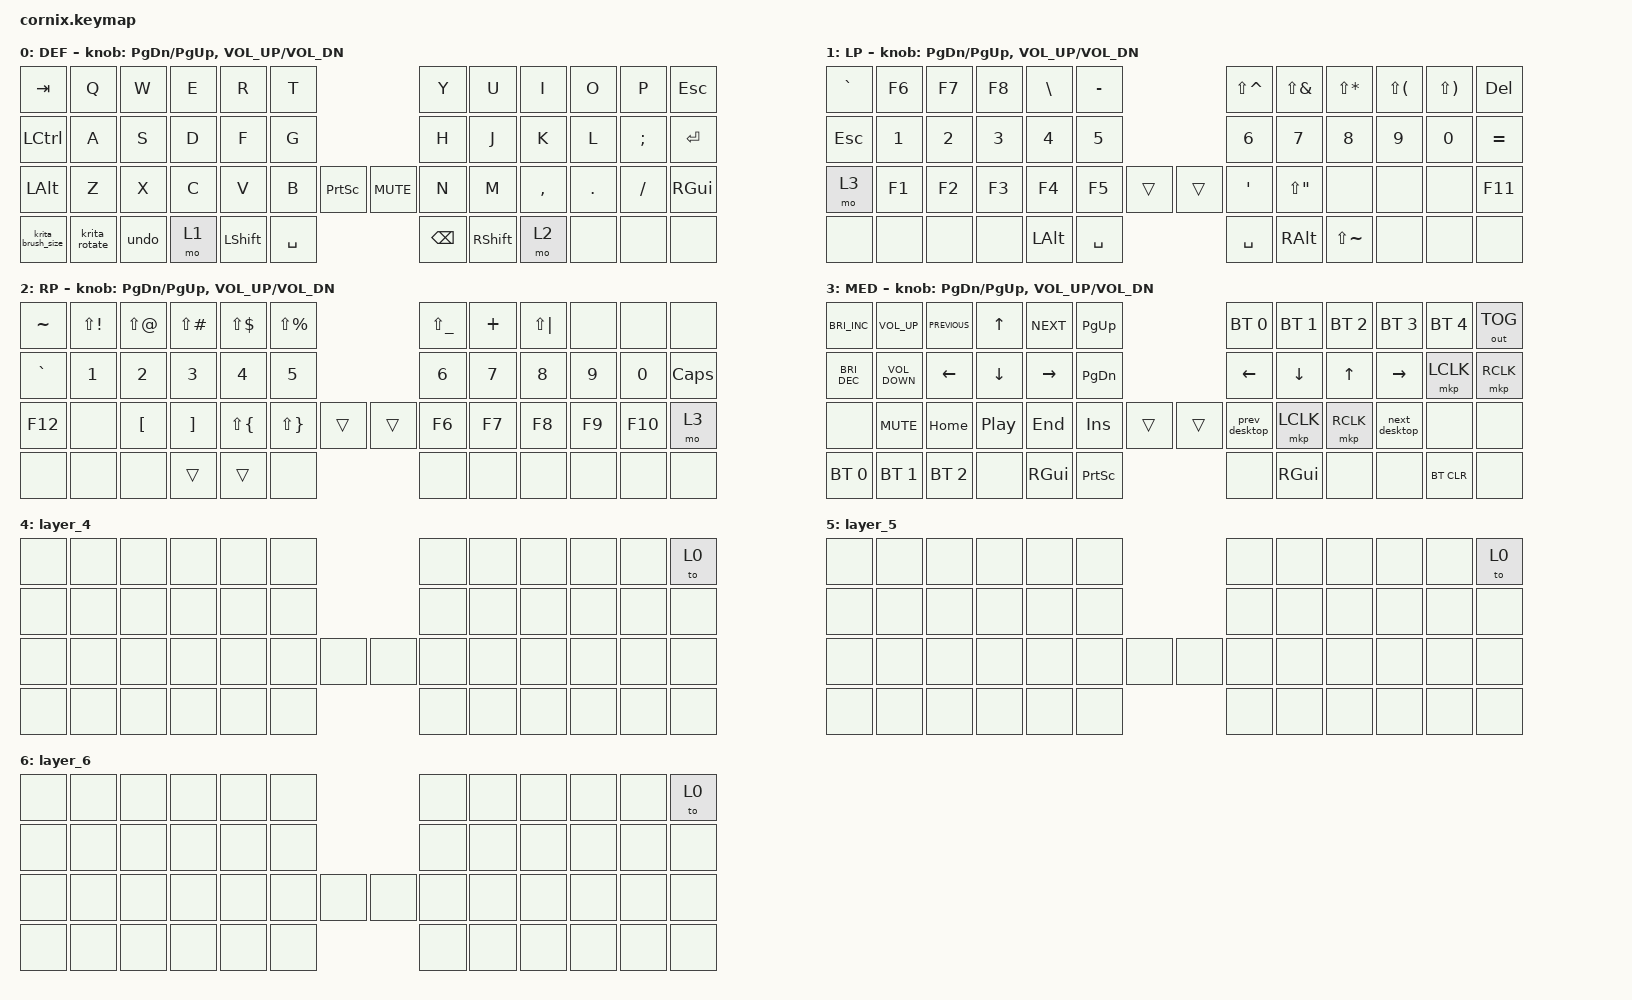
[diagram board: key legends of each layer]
/*
 * Copyright (c) 2020 The ZMK Contributors
 *
 * SPDX-License-Identifier: MIT
 */

#define ZMK_POINTING_DEFAULT_MOVE_VAL 1200  // 600
#define ZMK_POINTING_DEFAULT_SCRL_VAL 25   // 10

#include <behaviors.dtsi>
#include <dt-bindings/zmk/bt.h>
#include <dt-bindings/zmk/ext_power.h>
#include <dt-bindings/zmk/keys.h>
#include <dt-bindings/zmk/mouse.h>
#include <dt-bindings/zmk/outputs.h>
#include <dt-bindings/zmk/pointing.h>

/ {
    combos { compatible = "zmk,combos"; };

    macros {
        prev_desktop: prev_desktop {
            compatible = "zmk,behavior-macro";
            #binding-cells = <0>;
            bindings = <&kp LC(LG(LEFT_ARROW))>;
            display-name = "Prev Desktop";
        };
        next_desktop: next_desktop {
            compatible = "zmk,behavior-macro";
            #binding-cells = <0>;
            bindings = <&kp LC(LG(RIGHT_ARROW))>;
            display-name = "Next Desktop";
        };

        undo: undo {
            compatible = "zmk,behavior-macro";
            #binding-cells = <0>;
            bindings = <&kp LC(Z)>;
            display-name = "Undo";
        };
        krita_brush_size: krita_brush_size {
            compatible = "zmk,behavior-macro";
            #binding-cells = <0>;
            bindings
                = <&macro_press &kp LCTRL &kp SPACE>
                , <&macro_pause_for_release>
                , <&macro_release &kp LCTRL &kp SPACE>;
            display-name = "Krita Brush Size";
        };
        krita_rotate: krita_rotate {
            compatible = "zmk,behavior-macro";
            #binding-cells = <0>;
            bindings
                = <&macro_press &kp LEFT_SHIFT &kp SPACE>
                , <&macro_pause_for_release>
                , <&macro_release &kp LEFT_SHIFT &kp SPACE>;
            display-name = "Krita Rotate";
        };
    };

    keymap {
        compatible = "zmk,keymap";

        default_layer {
            display-name = "DEF";
            bindings = <
                &kp TAB           &kp Q         &kp W  &kp E  &kp R           &kp T                                   &kp Y          &kp U       &kp I      &kp O    &kp P     &kp ESCAPE
                &kp LCTRL         &kp A         &kp S  &kp D  &kp F           &kp G                                   &kp H          &kp J       &kp K      &kp L    &kp SEMI  &kp RETURN
                &kp LEFT_ALT      &kp Z         &kp X  &kp C  &kp V           &kp B      &kp PRINTSCREEN   &kp C_MUTE &kp N          &kp M       &kp COMMA  &kp DOT  &kp FSLH  &kp RIGHT_GUI
                &krita_brush_size &krita_rotate &undo  &mo 1  &kp LEFT_SHIFT  &kp SPACE                               &kp BACKSPACE  &kp RSHIFT  &mo 2      &none    &none    &none
            >;
            sensor-bindings = <&inc_dec_kp PG_DN PG_UP &inc_dec_kp C_VOL_UP C_VOL_DN>;
        };

        l_primer {
            display-name = "LP";
            bindings = <
                &kp GRAVE  &kp F6  &kp F7  &kp F8  &kp BACKSLASH  &kp MINUS                  &kp LS(CARET)  &kp LS(AMPS)  &kp LS(STAR)   &kp LS(LPAR)  &kp LS(RPAR)  &kp DEL
                &kp ESC    &kp N1  &kp N2  &kp N3  &kp N4         &kp N5                     &kp N6         &kp N7        &kp N8         &kp N9        &kp N0        &kp EQUAL
                &mo 3      &kp F1  &kp F2  &kp F3  &kp F4         &kp F5     &trans  &trans  &kp SQT        &kp LS(DQT)   &none          &none         &none         &kp F11
                &none      &none   &none   &none   &kp LALT       &kp SPACE                  &kp SPACE      &kp RALT      &kp LS(TILDE)  &none         &none         &none
            >;
            sensor-bindings = <&inc_dec_kp PG_DN PG_UP &inc_dec_kp C_VOL_UP C_VOL_DN>;
        };

        r_primer {
            display-name = "RP";
            bindings = <
                &kp TILDE  &kp LS(EXCL)  &kp LS(AT)  &kp LS(POUND)  &kp LS(DLLR)  &kp LS(PRCNT)                  &kp LS(UNDER)  &kp PLUS  &kp LS(PIPE)  &none   &none    &none
                &kp GRAVE  &kp N1        &kp N2      &kp N3         &kp N4        &kp N5                         &kp N6         &kp N7    &kp N8        &kp N9  &kp N0   &kp CAPS
                &kp F12    &none         &kp LBKT    &kp RBKT       &kp LS(LBRC)  &kp LS(RBRC)   &trans  &trans  &kp F6         &kp F7    &kp F8        &kp F9  &kp F10  &mo 3
                &none      &none         &none       &trans         &trans        &none                          &none          &none     &none         &none   &none    &none
            >;
            sensor-bindings = <&inc_dec_kp PG_DN PG_UP &inc_dec_kp C_VOL_UP C_VOL_DN>;
        };

        media {
            display-name = "MED";
            bindings = <
                &kp C_BRIGHTNESS_INC  &kp C_VOLUME_UP    &kp C_PREVIOUS  &kp UP_ARROW      &kp C_NEXT     &kp PAGE_UP                       &bt BT_SEL 0    &bt BT_SEL 1    &bt BT_SEL 2  &bt BT_SEL 3     &bt BT_SEL 4  &out OUT_TOG
                &kp C_BRIGHTNESS_DEC  &kp C_VOLUME_DOWN  &kp LEFT        &kp DOWN          &kp RIGHT      &kp PAGE_DOWN                     &kp LEFT_ARROW  &kp DOWN_ARROW  &kp UP_ARROW  &kp RIGHT_ARROW  &mkp LCLK     &mkp RCLK
                &none                 &kp C_MUTE         &kp HOME        &kp C_PLAY_PAUSE  &kp END        &kp INSERT         &trans  &trans &prev_desktop   &mkp LCLK       &mkp RCLK     &next_desktop    &none         &none
                &bt BT_SEL 0          &bt BT_SEL 1       &bt BT_SEL 2    &none             &kp RIGHT_GUI  &kp PRINTSCREEN                   &none           &kp RIGHT_GUI   &none         &none            &bt BT_CLR    &none
            >;
            sensor-bindings = <&inc_dec_kp PG_DN PG_UP &inc_dec_kp C_VOL_UP C_VOL_DN>;
        };

        layer_4 {
            bindings = <
                &none  &none  &none  &none  &none  &none             &none  &none  &none  &none  &none  &to 0
                &none  &none  &none  &none  &none  &none             &none  &none  &none  &none  &none  &none
                &none  &none  &none  &none  &none  &none &none &none &none  &none  &none  &none  &none  &none
                &none  &none  &none  &none  &none  &none             &none  &none  &none  &none  &none  &none
            >;
        };

        layer_5 {
            bindings = <
                &none  &none  &none  &none  &none  &none             &none  &none  &none  &none  &none  &to 0
                &none  &none  &none  &none  &none  &none             &none  &none  &none  &none  &none  &none
                &none  &none  &none  &none  &none  &none &none &none &none  &none  &none  &none  &none  &none
                &none  &none  &none  &none  &none  &none             &none  &none  &none  &none  &none  &none
            >;
        };

        layer_6 {
            bindings = <
                &none  &none  &none  &none  &none  &none             &none  &none  &none  &none  &none  &to 0
                &none  &none  &none  &none  &none  &none             &none  &none  &none  &none  &none  &none
                &none  &none  &none  &none  &none  &none &none &none &none  &none  &none  &none  &none  &none
                &none  &none  &none  &none  &none  &none             &none  &none  &none  &none  &none  &none
            >;
        };
    };
};
